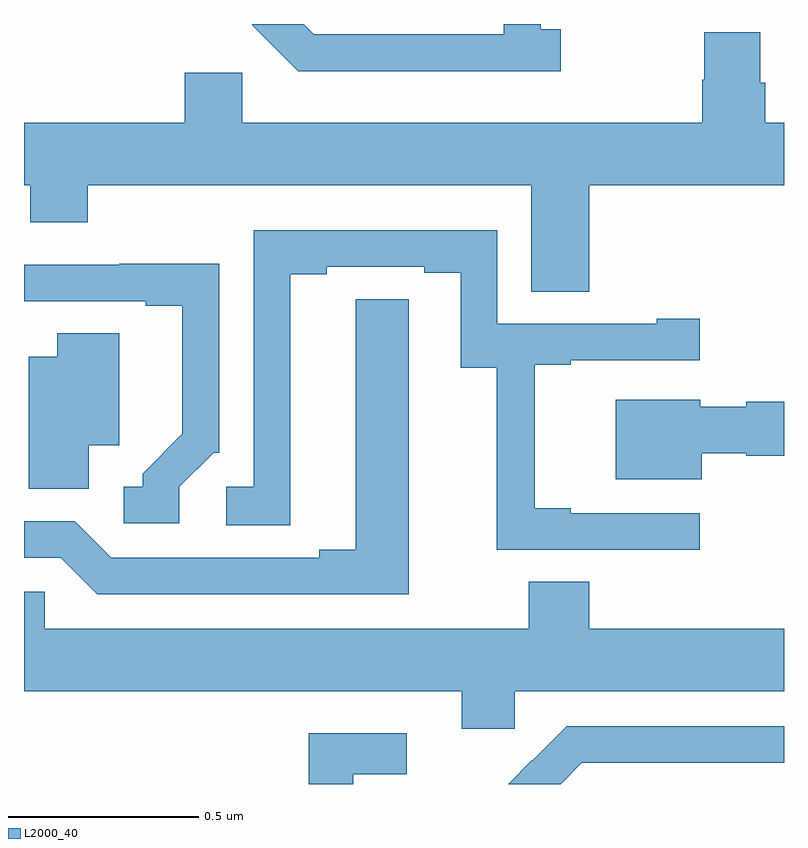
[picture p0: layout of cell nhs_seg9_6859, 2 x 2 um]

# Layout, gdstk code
import gdstk
lib = gdstk.Library(unit=1e-6, precision=1e-09)
def P(c, l, *ps):  # polygons
    for p in ps: c.add(gdstk.Polygon(p, *l))
L2000_40 = (2000, 40)

nhs_seg9_6859 = lib.new_cell('nhs_seg9_6859')
P(nhs_seg9_6859, L2000_40, [(198.412,1207.486),(198.36,1207.486),(198.36,1207.5),(198.263,1207.5),(198.263,1207.473),(197.763,1207.473),(197.736,1207.5),(197.601,1207.5),(197.601,1207.497),(197.722,1207.376),(198.412,1207.376)],
  [(198.488,1207.076),(199,1207.076),(199,1207.24),(198.95,1207.24),(198.95,1207.346),(198.937,1207.346),(198.937,1207.478),(198.79,1207.478),(198.79,1207.353),(198.785,1207.353),(198.785,1207.24),(197.574,1207.24),(197.574,1207.372),(197.423,1207.372),(197.423,1207.24),(197,1207.24),(197,1207.076),(197.016,1207.076),(197.016,1206.978),(197.168,1206.978),(197.168,1207.076),(198.335,1207.076),(198.335,1206.796),(198.488,1206.796)],
  [(198.778,1206.213),(198.439,1206.213),(198.439,1206.226),(198.344,1206.226),(198.344,1206.603),(198.439,1206.603),(198.439,1206.615),(198.778,1206.615),(198.778,1206.724),(198.665,1206.724),(198.665,1206.711),(198.246,1206.711),(198.246,1206.957),(197.604,1206.957),(197.604,1206.282),(197.532,1206.282),(197.532,1206.181),(197.701,1206.181),(197.701,1206.841),(197.797,1206.841),(197.797,1206.861),(198.053,1206.861),(198.053,1206.846),(198.149,1206.846),(198.149,1206.595),(198.244,1206.595),(198.244,1206.117),(198.778,1206.117)],
  [(197.409,1206.282),(197.499,1206.372),(197.514,1206.372),(197.514,1206.869),(197.251,1206.869),(197.251,1206.867),(197,1206.867),(197,1206.77),(197.056,1206.77),(197.056,1206.771),(197.321,1206.771),(197.321,1206.759),(197.417,1206.759),(197.417,1206.422),(197.312,1206.317),(197.312,1206.282),(197.262,1206.282),(197.262,1206.186),(197.409,1206.186)],
  [(198.013,1206.668),(198.012,1206.668),(198.012,1206.776),(197.873,1206.776),(197.873,1206.116),(197.777,1206.116),(197.777,1206.096),(197.229,1206.096),(197.133,1206.192),(197,1206.192),(197,1206.096),(197.097,1206.096),(197.193,1206),(198.013,1206)],
  [(197.17,1206.392),(197.251,1206.392),(197.251,1206.686),(197.087,1206.686),(197.087,1206.625),(197.012,1206.625),(197.012,1206.277),(197.17,1206.277)],
  [(198.784,1206.371),(198.9,1206.371),(198.9,1206.364),(199,1206.364),(199,1206.506),(198.9,1206.506),(198.9,1206.493),(198.78,1206.493),(198.78,1206.511),(198.557,1206.511),(198.557,1206.302),(198.784,1206.302)],
  [(198.291,1205.744),(199,1205.744),(199,1205.908),(198.488,1205.908),(198.488,1206.032),(198.328,1206.032),(198.328,1205.908),(197.055,1205.908),(197.055,1206.006),(197,1206.006),(197,1205.744),(198.152,1205.744),(198.152,1205.646),(198.291,1205.646)],
  [(198.468,1205.556),(199,1205.556),(199,1205.652),(198.428,1205.652),(198.337,1205.561),(198.336,1205.562),(198.274,1205.5),(198.412,1205.5)],
  [(197.867,1205.526),(198.007,1205.526),(198.007,1205.634),(197.749,1205.634),(197.749,1205.5),(197.867,1205.5)])

lib.write_gds('nhs_seg9_6859.gds')
